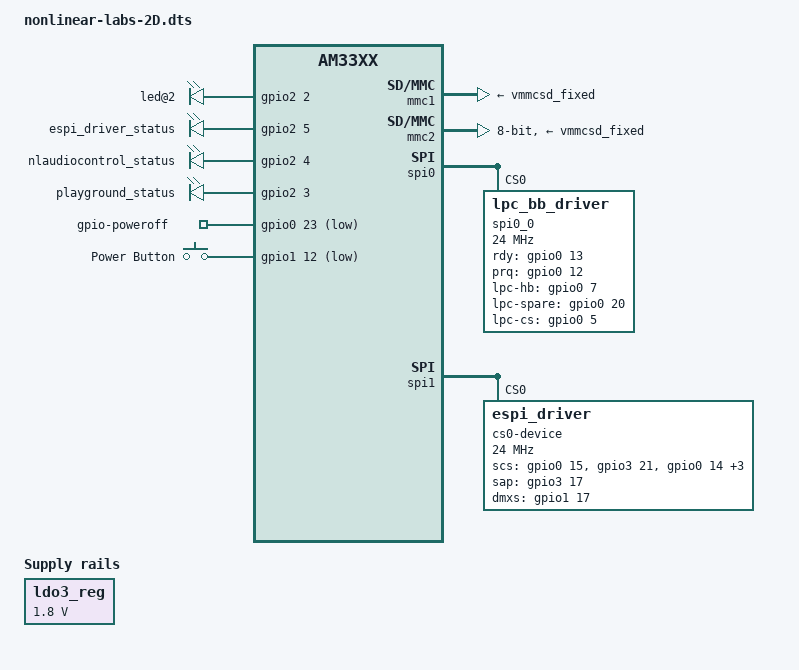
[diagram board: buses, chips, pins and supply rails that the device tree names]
/*
 * Copyright (C) 2012 Texas Instruments Incorporated - http://www.ti.com/
 *
 * This program is free software; you can redistribute it and/or modify
 * it under the terms of the GNU General Public License version 2 as
 * published by the Free Software Foundation.
 */
/dts-v1/;

#include "am33xx.dtsi"
#include "am335x-bone-common.dtsi"


	/ {
		/* Adapting LEDS to HW 2D */
		leds {
			led@2 {
				/* Linux HB */
				gpios = <&gpio2 2 GPIO_ACTIVE_HIGH>;
			};
			led@6 {
				label = "espi_driver_status";
				gpios = <&gpio2 5 GPIO_ACTIVE_HIGH>;
				default-state = "off";
			};
			led@8 {
				label = "nlaudiocontrol_status";
				gpios = <&gpio2 4 GPIO_ACTIVE_HIGH>;
				default-state = "off";
			};
			led@7 {
				label = "playground_status";
				gpios = <&gpio2 3 GPIO_ACTIVE_HIGH>;
				default-state = "off";
			};
		};
		nonlinear {
			hw-rev = "2D";
		};

		gpio-poweroff {
			compatible = "gpio-poweroff";
			gpios = <&gpio0 23 GPIO_ACTIVE_LOW>;
			pinctrl-names = "default";
			pinctrl-0 = <&pinctrl_poweroff_pins>;
		};

		gpio-keys {
			compatible = "gpio-keys";
			pinctrl-names = "default";
			pinctrl-0 = <&pinctrl_gpio_keys>;

			power {
				label = "Power Button";
				gpios = <&gpio1 12 GPIO_ACTIVE_LOW>;
				linux,code = <116>; // KEY_POWER
			};
		};
	};

	&ldo3_reg {
	regulator-min-microvolt = <1800000>;
	regulator-max-microvolt = <1800000>;
	regulator-always-on;
	};

	&mmc1 {
	vmmc-supply = <&vmmcsd_fixed>;
	};

	&mmc2 {
	vmmc-supply = <&vmmcsd_fixed>;
	pinctrl-names = "default";
	pinctrl-0 = <&emmc_pins>;
	bus-width = <8>;
	status = "okay";
	ti,vcc-aux-disable-is-sleep;
	};

	&am33xx_pinmux {
		pinctrl-0 = <&pinctrl_lpc_bb_sp1>;

		pinctrl_lpc_bb_sp1: pinmux_lpc_bb_sp1_pin {
			pinctrl-single,pins = < 0x1B4 0x7 >;
		};

		pinctrl_gpio_keys: pinmux_gpio_keys_pins {
			pinctrl-single,pins = <
				0x030 0x37	/* GPIO1_12 BBB_Control_Pin */
			>;
		};

		pinctrl_poweroff_pins: pinmux_gpio_poweroff_pins {
			pinctrl-single,pins = <
				0x024 0x0f	/* GPIO0_23 BBB_Alive_Pin */
			>;
		};

		/*NL_nni: SPI1 (ADC) & SPI0 added */
		pinctrl_spi0: pinmux_spi0_pins {
			pinctrl-single,pins = <
				0x150 0x30	/* SPI0_CLK */
				0x154 0x30	/* SPI0_D0 */
				0x158 0x10	/* SPI0_D1 */
				0x15C 0x17 /* SPI0_CS0 */
				/* 0x15C 0x10 /* SPI0_CS0 */
				0x178 0x37	/* LPC_PRQ uart1_ctsn.gpio0_12, INPUT | MODE7 */
				0x17C 0x37	/* LPC_RDY uart1_rtsn.gpio0_13, INPUT | MODE7 */
				0x164 0x37	/* LPC_HB */
			>;
		};

		pinctrl_spi1: pinmux_spi1_pins {
			pinctrl-single,pins = <
				0x190 0x23	/* SPI1_CLK */
				0x194 0x23	/* SPI1_D0 */
				0x198 0x13	/* SPI1_D1 */
				/* 0x19C 0x13	 SPI1_CS0 - used by mSPI */
				0x19C 0x17	/* ESPI_SAP */
				0x44  0x17	/* ESPI_DMX */
				0x1A4 0x2F	 /* P9_27 should be input */
				0x8C 0x7	/* OLED_DC gpmc_clk_mux0.gpio2_1, OUTPUT | MODE7 */
				0x28 0x7	/* OLED_CS gpmc_ad10.gpio0_26, OUTPUT | MODE7 */
				0x3c 0x7	/* ADC_CS gpmc_ad15.gpio1_15, OUTPUT | MODE7 */
				0x184 0x7	/* SCS0_A..C */
				0x1AC 0x7
				0x180 0x7
				0x70 0x7	/* SCS1_A..C */
				0x78 0x7
				0x74 0x7
			>;
		};
	};

	/* NL_nni: SPI1 & SPI0 added */
	&spi0 {
	#address-cells = <1>;
	#size-cells = <0>;
	status = "okay";
	pinctrl-names = "default";
	pinctrl-0 = <&pinctrl_spi0>;

	spi0_0{
		#address-cells = <1>;
		#size-cells = <0>;
		compatible ="lpc_bb_driver";
		reg = <0>;
		spi-max-frequency=<24000000>;
		rdy-gpio = <&gpio0 13 0>;
		prq-gpio = <&gpio0 12 0>;
		lpc-hb-gpio = <&gpio0 7 0>;
		lpc-spare-gpio = <&gpio0 20 0>;
		lpc-cs-gpio = <&gpio0 5 0>;
		};
	};

	&spi1 {
	#address-cells = <1>;
	#size-cells = <0>;
	status = "okay";
	pinctrl-names = "default";
	pinctrl-0 = <&pinctrl_spi1>;

	cs0-device {
		#address-cells = <1>;
		#size-cells = <0>;
		compatible ="espi_driver", "spidev";
		reg = <0>;
		prop1="Wert von Prop1";
		prop2=<12345>;

		spi-max-frequency=<24000000>;
		/* NL_nni: eSPI hub specific GPIOs */
		scs-gpios = <   &gpio0 15 0
				&gpio3 21 0
				&gpio0 14 0
				&gpio0 30 0
				&gpio1 28 0
				&gpio0 31 0
			>;
		sap-gpio = <&gpio3 17 0>;
		dmxs-gpio = <&gpio1 17 0>;
		};
	};
